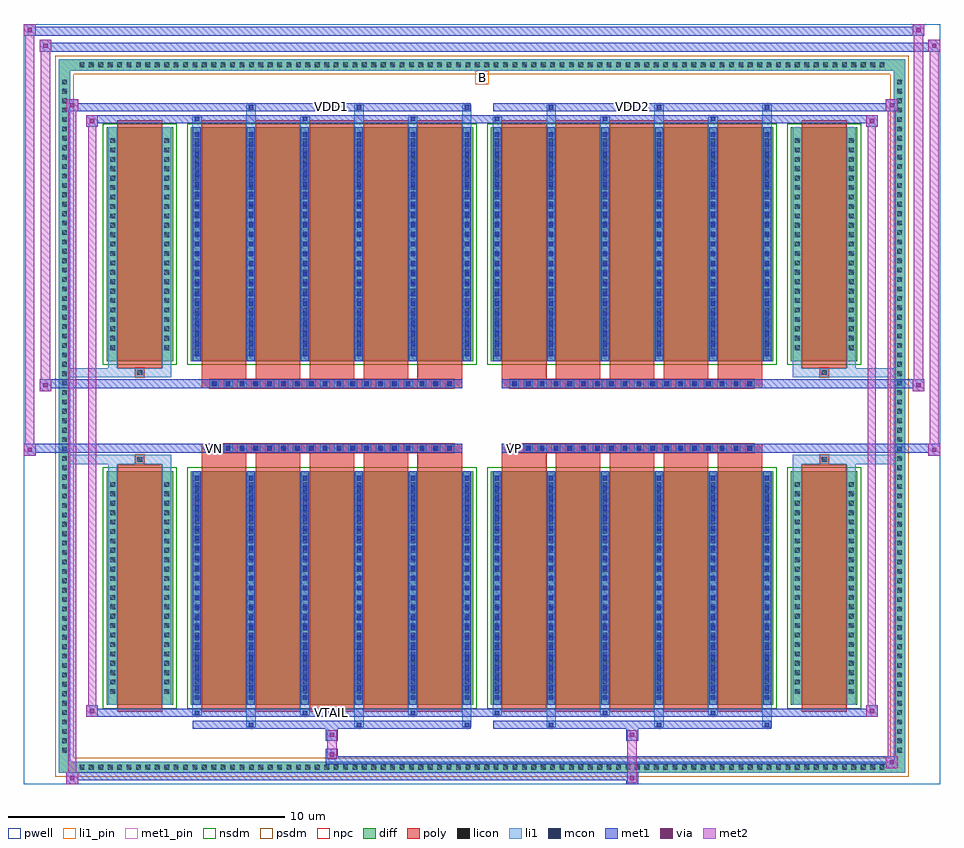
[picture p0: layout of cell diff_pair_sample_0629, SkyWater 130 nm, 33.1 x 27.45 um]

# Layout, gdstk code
import gdstk
lib = gdstk.Library(unit=1e-6, precision=5e-09)
def R(c, l, rs):  # rectangles x0, y0, x1, y1
    for r in rs: c.add(gdstk.rectangle(r[:2], r[2:], *l))
def A(c, l, x, y, w, h, nx, ny, dx, dy):  # array of equal rectangles
    R(c, l, [(x+i*dx, y+j*dy, x+i*dx+w, y+j*dy+h) for i in range(nx) for j in range(ny)])
def P(c, l, *ps):  # polygons
    for p in ps: c.add(gdstk.Polygon(p, *l))
pwell = (64, 44)
diff = (65, 20)
poly = (66, 20)
licon = (66, 44)
li1_pin = (67, 16)
li1 = (67, 20)
mcon = (67, 44)
met1_pin = (68, 16)
met1 = (68, 20)
via = (68, 44)
met2 = (69, 20)
nsdm = (93, 44)
psdm = (94, 20)
npc = (95, 20)

diff_pair_sample_0629 = lib.new_cell('diff_pair_sample_0629')
R(diff_pair_sample_0629, pwell, [(-16.55,-13.29,16.55,14.16), (-13.87,-11.48,-0.01,-0.8), (0.01,-11.48,13.87,-0.8), (-13.87,0.8,-0.01,11.48), (0.01,0.8,13.87,11.48)])
A(diff_pair_sample_0629, diff, -14.655, -12.89, 0.41, 0.41, 86, 2, 0.34, 25.37)
A(diff_pair_sample_0629, diff, -15.28, -12.275, 0.41, 0.41, 1, 72, 0, 0.34)
A(diff_pair_sample_0629, diff, 14.87, -12.275, 0.41, 0.41, 1, 72, 0, 0.34)
R(diff_pair_sample_0629, diff, [(-14.655,-12.89,14.655,-12.48), (-15.28,-12.275,-14.87,12.275), (14.87,-12.275,15.28,12.275), (-13.56,-10.435,-11.16,-1.985), (-10.52,-10.435,-0.32,-1.985), (0.32,-10.435,10.52,-1.985), (11.16,-10.435,13.56,-1.985), (-13.56,1.985,-11.16,10.435), (-10.52,1.985,-0.32,10.435), (0.32,1.985,10.52,10.435), (11.16,1.985,13.56,10.435), (-14.655,12.48,14.655,12.89)])
P(diff_pair_sample_0629, diff, [(15.28,12.89),(-15.28,12.89),(-15.28,-12.48),(-14.87,-12.48),(-14.87,12.48),(14.87,12.48),(14.87,-12.48),(-14.87,-12.48),(-15.28,-12.48),(-15.28,-12.89),(15.28,-12.89)])
A(diff_pair_sample_0629, poly, -10.13, -10.685, 1.62, 8.95, 5, 2, 1.95, 12.42)
A(diff_pair_sample_0629, poly, 0.71, -10.685, 1.62, 8.95, 5, 2, 1.95, 12.42)
A(diff_pair_sample_0629, poly, -10.13, -1.735, 1.62, 0.405, 5, 2, 1.95, 3.065)
A(diff_pair_sample_0629, poly, 0.71, -1.735, 1.62, 0.405, 5, 2, 1.95, 3.065)
A(diff_pair_sample_0629, poly, -9.835, -1.33, 0.33, 0.33, 18, 2, 0.5, 2.33)
A(diff_pair_sample_0629, poly, 1.005, -1.33, 0.33, 0.33, 18, 2, 0.5, 2.33)
R(diff_pair_sample_0629, poly, [(-13.17,-10.685,-11.55,-1.735), (11.55,-10.685,13.17,-1.735), (-12.525,-1.735,-12.195,-1.405), (-12.525,-1.735,-12.195,-1.405), (12.195,-1.735,12.525,-1.405), (12.195,-1.735,12.525,-1.405), (-10.13,-1.33,-0.71,-1), (0.71,-1.33,10.13,-1), (-10.13,1,-0.71,1.33), (0.71,1,10.13,1.33), (-12.525,1.405,-12.195,1.735), (-12.525,1.405,-12.195,1.735), (12.195,1.405,12.525,1.735), (12.195,1.405,12.525,1.735), (-13.17,1.735,-11.55,10.685), (11.55,1.735,13.17,10.685)])
A(diff_pair_sample_0629, licon, -14.535, -12.77, 0.17, 0.17, 86, 2, 0.34, 25.37)
A(diff_pair_sample_0629, licon, -15.16, -12.155, 0.17, 0.17, 1, 72, 0, 0.34)
A(diff_pair_sample_0629, licon, 14.99, -12.155, 0.17, 0.17, 1, 72, 0, 0.34)
A(diff_pair_sample_0629, licon, -13.42, -10.035, 0.17, 0.17, 1, 23, 0, 0.34)
A(diff_pair_sample_0629, licon, -11.47, -10.035, 0.17, 0.17, 1, 23, 0, 0.34)
A(diff_pair_sample_0629, licon, -10.38, -10.035, 0.17, 0.17, 6, 23, 1.95, 0.34)
A(diff_pair_sample_0629, licon, 0.46, -10.035, 0.17, 0.17, 6, 23, 1.95, 0.34)
A(diff_pair_sample_0629, licon, 11.3, -10.035, 0.17, 0.17, 1, 23, 0, 0.34)
A(diff_pair_sample_0629, licon, 13.25, -10.035, 0.17, 0.17, 1, 23, 0, 0.34)
A(diff_pair_sample_0629, licon, -9.755, -1.25, 0.17, 0.17, 18, 2, 0.5, 2.33)
A(diff_pair_sample_0629, licon, 1.085, -1.25, 0.17, 0.17, 18, 2, 0.5, 2.33)
A(diff_pair_sample_0629, licon, -13.42, 2.385, 0.17, 0.17, 1, 23, 0, 0.34)
A(diff_pair_sample_0629, licon, -11.47, 2.385, 0.17, 0.17, 1, 23, 0, 0.34)
A(diff_pair_sample_0629, licon, -10.38, 2.385, 0.17, 0.17, 6, 23, 1.95, 0.34)
A(diff_pair_sample_0629, licon, 0.46, 2.385, 0.17, 0.17, 6, 23, 1.95, 0.34)
A(diff_pair_sample_0629, licon, 11.3, 2.385, 0.17, 0.17, 1, 23, 0, 0.34)
A(diff_pair_sample_0629, licon, 13.25, 2.385, 0.17, 0.17, 1, 23, 0, 0.34)
R(diff_pair_sample_0629, licon, [(-12.445,-1.655,-12.275,-1.485), (12.275,-1.655,12.445,-1.485), (-12.445,1.485,-12.275,1.655), (12.275,1.485,12.445,1.655)])
R(diff_pair_sample_0629, li1_pin, [(-0.25,11.98,0.25,12.48)])
A(diff_pair_sample_0629, li1, -14.615, -12.85, 0.33, 0.33, 86, 2, 0.34, 25.37)
A(diff_pair_sample_0629, li1, -15.24, -12.235, 0.33, 0.33, 1, 72, 0, 0.34)
A(diff_pair_sample_0629, li1, 14.91, -12.235, 0.33, 0.33, 1, 72, 0, 0.34)
A(diff_pair_sample_0629, li1, -8.51, -11.24, 0.33, 0.805, 3, 2, 3.9, 21.675)
A(diff_pair_sample_0629, li1, -8.43, -11.24, 0.17, 0.17, 3, 2, 3.9, 22.31)
A(diff_pair_sample_0629, li1, 2.33, -11.24, 0.33, 0.805, 3, 2, 3.9, 21.675)
A(diff_pair_sample_0629, li1, 2.41, -11.24, 0.17, 0.17, 3, 2, 3.9, 22.31)
A(diff_pair_sample_0629, li1, -10.46, -10.81, 0.33, 0.375, 3, 2, 3.9, 21.245)
A(diff_pair_sample_0629, li1, -10.38, -10.81, 0.17, 0.17, 3, 2, 3.9, 21.45)
A(diff_pair_sample_0629, li1, 0.38, -10.81, 0.33, 0.375, 3, 2, 3.9, 21.245)
A(diff_pair_sample_0629, li1, 0.46, -10.81, 0.17, 0.17, 3, 2, 3.9, 21.45)
A(diff_pair_sample_0629, li1, -10.46, -10.435, 0.33, 8.45, 6, 2, 1.95, 12.42)
A(diff_pair_sample_0629, li1, 0.38, -10.435, 0.33, 8.45, 6, 2, 1.95, 12.42)
A(diff_pair_sample_0629, li1, -10.38, -10.255, 0.17, 0.17, 6, 23, 1.95, 0.36)
A(diff_pair_sample_0629, li1, -10.38, -10.255, 0.17, 8.09, 6, 2, 1.95, 12.42)
A(diff_pair_sample_0629, li1, 0.46, -10.255, 0.17, 0.17, 6, 23, 1.95, 0.36)
A(diff_pair_sample_0629, li1, 0.46, -10.255, 0.17, 8.09, 6, 2, 1.95, 12.42)
A(diff_pair_sample_0629, li1, -13.5, -10.115, 0.33, 0.33, 1, 23, 0, 0.34)
A(diff_pair_sample_0629, li1, -11.55, -10.115, 0.33, 0.33, 1, 23, 0, 0.34)
A(diff_pair_sample_0629, li1, -10.46, -10.115, 0.33, 0.33, 6, 23, 1.95, 0.34)
A(diff_pair_sample_0629, li1, 0.38, -10.115, 0.33, 0.33, 6, 23, 1.95, 0.34)
A(diff_pair_sample_0629, li1, 11.22, -10.115, 0.33, 0.33, 1, 23, 0, 0.34)
A(diff_pair_sample_0629, li1, 13.17, -10.115, 0.33, 0.33, 1, 23, 0, 0.34)
A(diff_pair_sample_0629, li1, -9.835, -1.33, 0.33, 0.33, 18, 2, 0.5, 2.33)
A(diff_pair_sample_0629, li1, 1.005, -1.33, 0.33, 0.33, 18, 2, 0.5, 2.33)
A(diff_pair_sample_0629, li1, -10.38, 2.165, 0.17, 0.17, 6, 23, 1.95, 0.36)
A(diff_pair_sample_0629, li1, 0.46, 2.165, 0.17, 0.17, 6, 23, 1.95, 0.36)
A(diff_pair_sample_0629, li1, -13.5, 2.305, 0.33, 0.33, 1, 23, 0, 0.34)
A(diff_pair_sample_0629, li1, -11.55, 2.305, 0.33, 0.33, 1, 23, 0, 0.34)
A(diff_pair_sample_0629, li1, -10.46, 2.305, 0.33, 0.33, 6, 23, 1.95, 0.34)
A(diff_pair_sample_0629, li1, 0.38, 2.305, 0.33, 0.33, 6, 23, 1.95, 0.34)
A(diff_pair_sample_0629, li1, 11.22, 2.305, 0.33, 0.33, 1, 23, 0, 0.34)
A(diff_pair_sample_0629, li1, 13.17, 2.305, 0.33, 0.33, 1, 23, 0, 0.34)
R(diff_pair_sample_0629, li1, [(-15.28,-12.89,-14.87,-12.48), (-15.28,-12.89,-14.87,-12.48), (-14.87,-12.89,14.87,-12.48), (14.87,-12.89,15.28,-12.48), (14.87,-12.89,15.28,-12.48), (-15.28,-12.48,-14.87,12.48), (14.87,-12.48,15.28,12.48), (-13.5,-10.435,-13.17,-1.985), (-11.55,-10.435,-11.22,-1.985), (11.22,-10.435,11.55,-1.985), (13.17,-10.435,13.5,-1.985), (-13.5,-1.985,-13.17,-1.405), (-11.55,-1.985,-11.22,-1.405), (11.22,-1.985,11.55,-1.405), (13.17,-1.985,13.5,-1.405), (-15.28,-1.735,-12.525,-1.405), (-13.5,-1.735,-12.525,-1.405), (-12.525,-1.735,-12.195,-1.405), (-12.195,-1.735,-11.22,-1.405), (11.22,-1.735,12.195,-1.405), (12.195,-1.735,12.525,-1.405), (12.195,-1.735,15.28,-1.405), (12.525,-1.735,13.5,-1.405), (-15.28,1.405,-12.525,1.735), (-13.5,1.405,-12.525,1.735), (-13.5,1.405,-13.17,1.985), (-12.525,1.405,-12.195,1.735), (-12.195,1.405,-11.22,1.735), (-11.55,1.405,-11.22,1.985), (11.22,1.405,12.195,1.735), (11.22,1.405,11.55,1.985), (12.195,1.405,12.525,1.735), (12.195,1.405,15.28,1.735), (12.525,1.405,13.5,1.735), (13.17,1.405,13.5,1.985), (-13.5,1.985,-13.17,10.435), (-11.55,1.985,-11.22,10.435), (11.22,1.985,11.55,10.435), (13.17,1.985,13.5,10.435), (-15.28,12.48,-14.87,12.89), (-15.28,12.48,-14.87,12.89), (-14.87,12.48,14.87,12.89), (14.87,12.48,15.28,12.89), (14.87,12.48,15.28,12.89)])
A(diff_pair_sample_0629, mcon, -8.43, -11.24, 0.17, 0.17, 3, 2, 3.9, 22.31)
A(diff_pair_sample_0629, mcon, 2.41, -11.24, 0.17, 0.17, 3, 2, 3.9, 22.31)
A(diff_pair_sample_0629, mcon, -10.38, -10.81, 0.17, 0.17, 3, 2, 3.9, 21.45)
A(diff_pair_sample_0629, mcon, 0.46, -10.81, 0.17, 0.17, 3, 2, 3.9, 21.45)
A(diff_pair_sample_0629, mcon, -10.38, -10.255, 0.17, 0.17, 6, 23, 1.95, 0.36)
A(diff_pair_sample_0629, mcon, 0.46, -10.255, 0.17, 0.17, 6, 23, 1.95, 0.36)
A(diff_pair_sample_0629, mcon, -9.755, -1.25, 0.17, 0.17, 18, 2, 0.5, 2.33)
A(diff_pair_sample_0629, mcon, 1.085, -1.25, 0.17, 0.17, 18, 2, 0.5, 2.33)
A(diff_pair_sample_0629, mcon, -10.38, 2.165, 0.17, 0.17, 6, 23, 1.95, 0.36)
A(diff_pair_sample_0629, mcon, 0.46, 2.165, 0.17, 0.17, 6, 23, 1.95, 0.36)
R(diff_pair_sample_0629, met1_pin, [(-5.555,-10.85,-5.285,-10.58), (-9.805,-1.29,-9.535,-1.02), (1.035,-1.29,1.305,-1.02), (-5.555,11.03,-5.285,11.3), (5.285,11.03,5.555,11.3)])
A(diff_pair_sample_0629, met1, -8.49, -11.3, 0.29, 0.29, 3, 2, 3.9, 22.31)
A(diff_pair_sample_0629, met1, 2.35, -11.3, 0.29, 0.29, 3, 2, 3.9, 22.31)
A(diff_pair_sample_0629, met1, -10.44, -10.87, 0.29, 0.29, 3, 2, 3.9, 21.45)
A(diff_pair_sample_0629, met1, 0.4, -10.87, 0.29, 0.29, 3, 2, 3.9, 21.45)
A(diff_pair_sample_0629, met1, -10.44, -10.435, 0.29, 8.45, 6, 2, 1.95, 12.42)
A(diff_pair_sample_0629, met1, 0.4, -10.435, 0.29, 8.45, 6, 2, 1.95, 12.42)
A(diff_pair_sample_0629, met1, -10.44, -10.315, 0.29, 0.29, 6, 23, 1.95, 0.36)
A(diff_pair_sample_0629, met1, 0.4, -10.315, 0.29, 0.29, 6, 23, 1.95, 0.36)
A(diff_pair_sample_0629, met1, -9.815, -1.31, 0.29, 0.29, 18, 2, 0.5, 2.33)
A(diff_pair_sample_0629, met1, 1.025, -1.31, 0.29, 0.29, 18, 2, 0.5, 2.33)
A(diff_pair_sample_0629, met1, -10.44, 2.105, 0.29, 0.29, 6, 23, 1.95, 0.36)
A(diff_pair_sample_0629, met1, 0.4, 2.105, 0.29, 0.29, 6, 23, 1.95, 0.36)
R(diff_pair_sample_0629, met1, [(-15.01,-13.29,-14.58,-12.86), (5.205,-13.29,5.635,-12.86), (-15.01,-13.15,5.635,-12.86), (14.58,-12.72,15.01,-12.29), (-5.635,-12.58,15.01,-12.29), (-5.635,-12.44,-5.205,-12.01), (-5.635,-11.73,-5.205,-11.3), (5.205,-11.73,5.635,-11.3), (-10.44,-11.3,-0.4,-11.01), (0.4,-11.3,10.44,-11.01), (-14.3,-10.87,-13.87,-10.44), (-14.3,-10.87,-10.44,-10.58), (-10.44,-10.87,-0.4,-10.58), (-0.4,-10.87,0.4,-10.58), (0.4,-10.87,10.44,-10.58), (10.44,-10.87,14.3,-10.58), (13.87,-10.87,14.3,-10.44), (-16.55,-1.43,-16.12,-1), (16.12,-1.43,16.55,-1), (-16.55,-1.33,-0.71,-1), (-10.13,-1.33,-0.71,-1), (0.71,-1.33,10.13,-1), (0.71,-1.33,16.55,-1), (-15.98,0.9,-15.55,1.33), (15.55,0.9,15.98,1.33), (-15.98,1,-10.13,1.33), (-10.13,1,-0.71,1.33), (0.71,1,10.13,1.33), (10.13,1,15.98,1.33), (-14.3,10.44,-13.87,10.87), (13.87,10.44,14.3,10.87), (-14.3,10.58,-10.44,10.87), (-10.44,10.58,-0.4,10.87), (-0.4,10.58,0.4,10.87), (0.4,10.58,10.44,10.87), (10.44,10.58,14.3,10.87), (-15.01,11.01,-14.58,11.44), (-15.01,11.01,-10.44,11.3), (-10.44,11.01,-0.4,11.3), (0.4,11.01,10.44,11.3), (10.44,11.01,15.01,11.3), (14.58,11.01,15.01,11.44), (-15.98,13.16,-15.55,13.59), (-15.98,13.16,-13.87,13.49), (-13.87,13.16,13.87,13.49), (13.87,13.16,16.55,13.49), (16.12,13.16,16.55,13.59), (-16.55,13.73,-16.12,14.16), (-16.55,13.73,-13.87,14.06), (-13.87,13.73,13.87,14.06), (13.87,13.73,15.98,14.06), (15.55,13.73,15.98,14.16)])
R(diff_pair_sample_0629, via, [(-14.87,-13.15,-14.72,-13), (5.345,-13.15,5.495,-13), (14.72,-12.58,14.87,-12.43), (-5.495,-12.3,-5.345,-12.15), (-5.495,-11.59,-5.345,-11.44), (5.345,-11.59,5.495,-11.44), (-14.16,-10.73,-14.01,-10.58), (14.01,-10.73,14.16,-10.58), (-16.41,-1.29,-16.26,-1.14), (16.26,-1.29,16.41,-1.14), (-15.84,1.04,-15.69,1.19), (15.69,1.04,15.84,1.19), (-14.16,10.58,-14.01,10.73), (14.01,10.58,14.16,10.73), (-14.87,11.15,-14.72,11.3), (14.72,11.15,14.87,11.3), (-15.84,13.3,-15.69,13.45), (16.26,13.3,16.41,13.45), (-16.41,13.87,-16.26,14.02), (15.69,13.87,15.84,14.02)])
R(diff_pair_sample_0629, met2, [(-15.01,-13.29,-14.58,-12.86), (-14.94,-13.29,-14.65,11.44), (-14.65,-13.29,-14.58,-12.86), (-14.96,-13.24,-14.63,-12.91), (5.255,-13.24,5.585,-12.91), (5.255,-12.91,5.585,-11.68), (14.58,-12.72,15.01,-12.29), (14.65,-12.72,14.94,11.44), (14.94,-12.72,15.01,-12.29), (14.63,-12.67,14.96,-12.34), (-5.585,-12.39,-5.255,-12.06), (-5.585,-12.06,-5.255,-11.68), (-5.585,-11.68,-5.255,-11.35), (5.255,-11.68,5.585,-11.35), (-14.3,-10.87,-13.87,-10.44), (-14.23,-10.87,-13.94,10.87), (-13.94,-10.87,-13.87,-10.44), (13.87,-10.87,14.3,-10.44), (13.94,-10.87,14.23,10.87), (14.23,-10.87,14.3,-10.44), (-14.25,-10.82,-13.92,-10.49), (13.92,-10.82,14.25,-10.49), (-16.55,-1.43,-16.12,-1), (-16.5,-1.43,-16.17,14.16), (-16.17,-1.43,-16.12,-1), (16.12,-1.43,16.55,-1), (16.17,-1.43,16.5,13.59), (16.5,-1.43,16.55,-1), (-16.5,-1.38,-16.17,-1.05), (16.17,-1.38,16.5,-1.05), (-15.98,0.9,-15.55,1.33), (-15.93,0.9,-15.6,13.59), (-15.6,0.9,-15.55,1.33), (15.55,0.9,15.98,1.33), (15.6,0.9,15.93,14.16), (15.93,0.9,15.98,1.33), (-15.93,0.95,-15.6,1.28), (15.6,0.95,15.93,1.28), (-14.3,10.44,-13.87,10.87), (-13.94,10.44,-13.87,10.87), (13.87,10.44,14.3,10.87), (14.23,10.44,14.3,10.87), (-14.25,10.49,-13.92,10.82), (13.92,10.49,14.25,10.82), (-15.01,11.01,-14.58,11.44), (-14.65,11.01,-14.58,11.44), (14.58,11.01,15.01,11.44), (14.94,11.01,15.01,11.44), (-14.96,11.06,-14.63,11.39), (14.63,11.06,14.96,11.39), (-15.98,13.16,-15.55,13.59), (-15.6,13.16,-15.55,13.59), (16.12,13.16,16.55,13.59), (16.5,13.16,16.55,13.59), (-15.93,13.21,-15.6,13.54), (16.17,13.21,16.5,13.54), (-16.55,13.73,-16.12,14.16), (-16.17,13.73,-16.12,14.16), (15.55,13.73,15.98,14.16), (15.93,13.73,15.98,14.16), (-16.5,13.78,-16.17,14.11), (15.6,13.78,15.93,14.11)])
R(diff_pair_sample_0629, nsdm, [(-13.69,-10.565,-11.03,-1.855), (-10.65,-10.565,-0.19,-1.855), (0.19,-10.565,10.65,-1.855), (11.03,-10.565,13.69,-1.855), (-13.69,1.855,-11.03,10.565), (-10.65,1.855,-0.19,10.565), (0.19,1.855,10.65,10.565), (11.03,1.855,13.69,10.565)])
P(diff_pair_sample_0629, psdm, [(15.41,13.02),(-15.41,13.02),(-15.41,-12.35),(-14.74,-12.35),(-14.74,12.35),(14.74,12.35),(14.74,-12.35),(-14.74,-12.35),(-15.41,-12.35),(-15.41,-13.02),(15.41,-13.02)])
A(diff_pair_sample_0629, npc, -9.855, -1.35, 0.37, 0.37, 18, 2, 0.5, 2.33)
A(diff_pair_sample_0629, npc, 0.985, -1.35, 0.37, 0.37, 18, 2, 0.5, 2.33)
R(diff_pair_sample_0629, npc, [(-12.545,-1.755,-12.175,-1.385), (12.175,-1.755,12.545,-1.385), (-9.855,-1.35,-8.985,-0.98), (-9.855,-1.35,-8.985,-0.98), (-9.355,-1.35,-8.485,-0.98), (-9.355,-1.35,-8.485,-0.98), (-8.855,-1.35,-7.985,-0.98), (-8.855,-1.35,-7.985,-0.98), (-8.355,-1.35,-7.485,-0.98), (-8.355,-1.35,-7.485,-0.98), (-7.855,-1.35,-6.985,-0.98), (-7.855,-1.35,-6.985,-0.98), (-7.355,-1.35,-6.485,-0.98), (-7.355,-1.35,-6.485,-0.98), (-6.855,-1.35,-5.985,-0.98), (-6.855,-1.35,-5.985,-0.98), (-6.355,-1.35,-5.485,-0.98), (-6.355,-1.35,-5.485,-0.98), (-5.855,-1.35,-4.985,-0.98), (-5.855,-1.35,-4.985,-0.98), (-5.355,-1.35,-4.485,-0.98), (-5.355,-1.35,-4.485,-0.98), (-4.855,-1.35,-3.985,-0.98), (-4.855,-1.35,-3.985,-0.98), (-4.355,-1.35,-3.485,-0.98), (-4.355,-1.35,-3.485,-0.98), (-3.855,-1.35,-2.985,-0.98), (-3.855,-1.35,-2.985,-0.98), (-3.355,-1.35,-2.485,-0.98), (-3.355,-1.35,-2.485,-0.98), (-2.855,-1.35,-1.985,-0.98), (-2.855,-1.35,-1.985,-0.98), (-2.355,-1.35,-1.485,-0.98), (-2.355,-1.35,-1.485,-0.98), (-1.855,-1.35,-0.985,-0.98), (-1.855,-1.35,-0.985,-0.98), (0.985,-1.35,1.855,-0.98), (0.985,-1.35,1.855,-0.98), (1.485,-1.35,2.355,-0.98), (1.485,-1.35,2.355,-0.98), (1.985,-1.35,2.855,-0.98), (1.985,-1.35,2.855,-0.98), (2.485,-1.35,3.355,-0.98), (2.485,-1.35,3.355,-0.98), (2.985,-1.35,3.855,-0.98), (2.985,-1.35,3.855,-0.98), (3.485,-1.35,4.355,-0.98), (3.485,-1.35,4.355,-0.98), (3.985,-1.35,4.855,-0.98), (3.985,-1.35,4.855,-0.98), (4.485,-1.35,5.355,-0.98), (4.485,-1.35,5.355,-0.98), (4.985,-1.35,5.855,-0.98), (4.985,-1.35,5.855,-0.98), (5.485,-1.35,6.355,-0.98), (5.485,-1.35,6.355,-0.98), (5.985,-1.35,6.855,-0.98), (5.985,-1.35,6.855,-0.98), (6.485,-1.35,7.355,-0.98), (6.485,-1.35,7.355,-0.98), (6.985,-1.35,7.855,-0.98), (6.985,-1.35,7.855,-0.98), (7.485,-1.35,8.355,-0.98), (7.485,-1.35,8.355,-0.98), (7.985,-1.35,8.855,-0.98), (7.985,-1.35,8.855,-0.98), (8.485,-1.35,9.355,-0.98), (8.485,-1.35,9.355,-0.98), (8.985,-1.35,9.855,-0.98), (8.985,-1.35,9.855,-0.98), (-9.855,0.98,-8.985,1.35), (-9.855,0.98,-8.985,1.35), (-9.355,0.98,-8.485,1.35), (-9.355,0.98,-8.485,1.35), (-8.855,0.98,-7.985,1.35), (-8.855,0.98,-7.985,1.35), (-8.355,0.98,-7.485,1.35), (-8.355,0.98,-7.485,1.35), (-7.855,0.98,-6.985,1.35), (-7.855,0.98,-6.985,1.35), (-7.355,0.98,-6.485,1.35), (-7.355,0.98,-6.485,1.35), (-6.855,0.98,-5.985,1.35), (-6.855,0.98,-5.985,1.35), (-6.355,0.98,-5.485,1.35), (-6.355,0.98,-5.485,1.35), (-5.855,0.98,-4.985,1.35), (-5.855,0.98,-4.985,1.35), (-5.355,0.98,-4.485,1.35), (-5.355,0.98,-4.485,1.35), (-4.855,0.98,-3.985,1.35), (-4.855,0.98,-3.985,1.35), (-4.355,0.98,-3.485,1.35), (-4.355,0.98,-3.485,1.35), (-3.855,0.98,-2.985,1.35), (-3.855,0.98,-2.985,1.35), (-3.355,0.98,-2.485,1.35), (-3.355,0.98,-2.485,1.35), (-2.855,0.98,-1.985,1.35), (-2.855,0.98,-1.985,1.35), (-2.355,0.98,-1.485,1.35), (-2.355,0.98,-1.485,1.35), (-1.855,0.98,-0.985,1.35), (-1.855,0.98,-0.985,1.35), (0.985,0.98,1.855,1.35), (0.985,0.98,1.855,1.35), (1.485,0.98,2.355,1.35), (1.485,0.98,2.355,1.35), (1.985,0.98,2.855,1.35), (1.985,0.98,2.855,1.35), (2.485,0.98,3.355,1.35), (2.485,0.98,3.355,1.35), (2.985,0.98,3.855,1.35), (2.985,0.98,3.855,1.35), (3.485,0.98,4.355,1.35), (3.485,0.98,4.355,1.35), (3.985,0.98,4.855,1.35), (3.985,0.98,4.855,1.35), (4.485,0.98,5.355,1.35), (4.485,0.98,5.355,1.35), (4.985,0.98,5.855,1.35), (4.985,0.98,5.855,1.35), (5.485,0.98,6.355,1.35), (5.485,0.98,6.355,1.35), (5.985,0.98,6.855,1.35), (5.985,0.98,6.855,1.35), (6.485,0.98,7.355,1.35), (6.485,0.98,7.355,1.35), (6.985,0.98,7.855,1.35), (6.985,0.98,7.855,1.35), (7.485,0.98,8.355,1.35), (7.485,0.98,8.355,1.35), (7.985,0.98,8.855,1.35), (7.985,0.98,8.855,1.35), (8.485,0.98,9.355,1.35), (8.485,0.98,9.355,1.35), (8.985,0.98,9.855,1.35), (8.985,0.98,9.855,1.35), (-12.545,1.385,-12.175,1.755), (12.175,1.385,12.545,1.755)])
diff_pair_sample_0629.add(gdstk.Label('VTAIL', (-5.42,-10.715), layer=68, texttype=5))
diff_pair_sample_0629.add(gdstk.Label('VN', (-9.67,-1.155), layer=68, texttype=5))
diff_pair_sample_0629.add(gdstk.Label('VP', (1.17,-1.155), layer=68, texttype=5))
diff_pair_sample_0629.add(gdstk.Label('B', (0,12.23), layer=67, texttype=5))
diff_pair_sample_0629.add(gdstk.Label('VDD2', (5.42,11.165), layer=68, texttype=5))
diff_pair_sample_0629.add(gdstk.Label('VDD1', (-5.42,11.165), layer=68, texttype=5))

lib.write_gds('diff_pair_sample_0629.gds')
